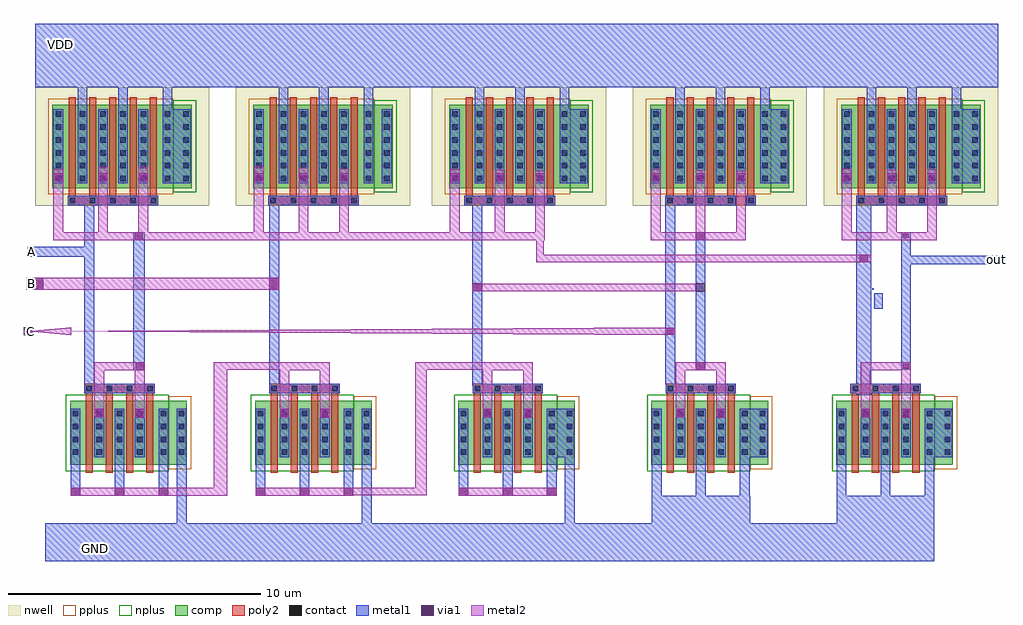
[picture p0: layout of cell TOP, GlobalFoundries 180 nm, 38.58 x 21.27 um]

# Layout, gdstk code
import gdstk
lib = gdstk.Library(unit=1e-6, precision=5e-09)
def R(c, l, rs):  # rectangles x0, y0, x1, y1
    for r in rs: c.add(gdstk.rectangle(r[:2], r[2:], *l))
def A(c, l, x, y, w, h, nx, ny, dx, dy):  # array of equal rectangles
    R(c, l, [(x+i*dx, y+j*dy, x+i*dx+w, y+j*dy+h) for i in range(nx) for j in range(ny)])
nwell = (21, 0)
comp = (22, 0)
poly2 = (30, 0)
pplus = (31, 0)
nplus = (32, 0)
contact = (33, 0)
metal1 = (34, 0)
via1 = (35, 0)
metal2 = (36, 0)

nfet_1 = lib.new_cell('nfet$1')
R(nfet_1, comp, [(-0.42,0,0,2.54), (0,0,3.06,2.54), (3.06,0,3.48,2.54), (3.48,0,4.19,2.54)])
A(nfet_1, poly2, 0.19, -0.3, 0.28, 3.14, 4, 1, 0.8, 0)
A(nfet_1, poly2, 0.15, 2.84, 0.36, 0.36, 4, 1, 0.8, 0)
R(nfet_1, pplus, [(3.48,-0.17,4.36,2.71)])
R(nfet_1, nplus, [(-0.59,-0.24,3.48,2.78)])
A(nfet_1, contact, -0.32, 0.395, 0.22, 0.22, 1, 4, 0, 0.51)
A(nfet_1, contact, 0.62, 0.395, 0.22, 0.22, 3, 4, 0.8, 0.51)
A(nfet_1, contact, 3.16, 0.395, 0.22, 0.22, 1, 4, 0, 0.51)
A(nfet_1, contact, 3.87, 0.395, 0.22, 0.22, 1, 4, 0, 0.51)
A(nfet_1, contact, 0.22, 2.91, 0.22, 0.22, 4, 1, 0.8, 0)
A(nfet_1, metal1, 0.54, 0.315, 0.38, 1.91, 3, 1, 0.8, 0)
A(nfet_1, metal1, 0.14, 2.83, 0.38, 0.38, 4, 1, 0.8, 0)
R(nfet_1, metal1, [(-0.4,0.315,-0.02,2.225), (3.08,0.315,3.46,2.225), (3.79,0.315,4.17,2.225)])

pfet = lib.new_cell('pfet')
R(pfet, nwell, [(-1.15,-0.69,5.74,3.99)])
R(pfet, comp, [(-0.46,0,0,3.3), (0,0,3.86,3.3), (3.86,0,4.32,3.3), (4.32,0,5.05,3.3)])
A(pfet, poly2, 0.14, -0.68, 0.38, 0.38, 5, 1, 0.8, 0)
A(pfet, poly2, 0.19, -0.3, 0.28, 3.9, 5, 1, 0.8, 0)
R(pfet, pplus, [(-0.63,-0.24,4.32,3.54)])
R(pfet, nplus, [(4.32,-0.17,5.22,3.47)])
A(pfet, contact, 0.22, -0.6, 0.22, 0.22, 5, 1, 0.8, 0)
A(pfet, contact, -0.34, 0.265, 0.22, 0.22, 1, 6, 0, 0.51)
A(pfet, contact, 0.62, 0.265, 0.22, 0.22, 4, 6, 0.8, 0.51)
A(pfet, contact, 3.98, 0.265, 0.22, 0.22, 1, 6, 0, 0.51)
A(pfet, contact, 4.71, 0.265, 0.22, 0.22, 1, 6, 0, 0.51)
A(pfet, metal1, 0.14, -0.68, 0.38, 0.38, 5, 1, 0.8, 0)
A(pfet, metal1, 0.54, 0.185, 0.38, 2.93, 4, 1, 0.8, 0)
R(pfet, metal1, [(-0.42,0.185,-0.04,3.115), (3.9,0.185,4.28,3.115), (4.63,0.185,5.01,3.115)])

top = lib.new_cell('TOP')
R(top, poly2, [(-51.475,10.355,-48.695,10.735), (-44.16,10.355,-41.38,10.735), (-36.13,10.355,-33.35,10.735), (-28.5,10.355,-25.72,10.735), (-21.19,10.355,-18.41,10.735), (-52.135,17.79,-48.555,18.17), (-44.2,17.79,-40.62,18.17), (-36.45,17.79,-32.87,18.17), (-28.515,17.79,-24.935,18.17), (-20.955,17.79,-17.375,18.17)])
A(top, metal1, -52.015, 6.31, 0.38, 1.53, 3, 1, 1.74, 0)
A(top, metal1, -44.7, 6.31, 0.38, 1.53, 3, 1, 1.74, 0)
A(top, metal1, -36.67, 6.31, 0.38, 1.53, 3, 1, 1.74, 0)
A(top, metal1, -29.04, 6.31, 0.38, 1.53, 3, 1, 1.74, 0)
A(top, metal1, -21.73, 6.31, 0.38, 1.53, 3, 1, 1.74, 0)
R(top, metal1, [(-53.015,3.71,-17.87,5.22), (-47.825,5.22,-47.435,5.31), (-40.51,5.22,-40.12,5.31), (-32.48,5.22,-32.085,5.31), (-29.04,5.22,-25.15,5.31), (-21.73,5.22,-17.87,6.31), (-47.825,5.31,-47.435,7.84), (-40.51,5.31,-40.12,7.84), (-32.48,5.31,-32.09,7.84), (-29.04,5.31,-25.15,6.31), (-33.19,7.84,-32.1,9.75), (-25.56,7.84,-24.47,9.75), (-18.25,7.84,-17.16,9.75), (-20.955,10.305,-20.36,18.17), (-51.475,10.355,-48.695,10.735), (-44.16,10.355,-41.38,10.735), (-36.13,10.355,-33.35,10.735), (-28.5,10.355,-25.72,10.735), (-21.19,10.355,-18.41,10.735), (-49.55,11.265,-49.1,11.595), (-27.31,11.265,-26.925,16.73), (-19.19,11.28,-18.81,16.73), (-49.55,11.595,-49.095,16.73), (-53.88,12.66,-53.465,12.96), (-20.25,13.7,-19.91,14.305), (-20.335,14.445,-20.275,14.515), (-53.775,14.45,-53.1,14.93), (-19.19,15.455,-15.3,15.79), (-52.135,17.79,-48.555,18.17), (-44.2,17.79,-40.62,18.17), (-36.45,17.79,-32.87,18.17), (-28.515,17.79,-25.735,18.17), (-20.955,17.79,-17.375,18.17), (-48.375,18.655,-47.265,21.585), (-32.69,18.655,-31.58,21.585), (-24.755,18.655,-23.645,21.585), (-17.195,18.655,-16.085,21.585), (-51.735,21.585,-51.355,23.275), (-50.135,21.585,-49.755,23.275), (-48.375,21.585,-47.995,23.275), (-43.8,21.585,-43.42,23.275), (-42.2,21.585,-41.82,23.275), (-40.44,21.585,-40.06,23.275), (-36.05,21.585,-35.67,23.275), (-34.45,21.585,-34.07,23.275), (-32.69,21.585,-32.31,23.275), (-28.115,21.585,-27.735,23.275), (-26.515,21.585,-26.135,23.275), (-24.755,21.585,-24.375,23.275), (-20.555,21.585,-20.175,23.275), (-18.955,21.585,-18.575,23.275), (-17.195,21.585,-16.815,23.275), (-53.425,22.46,-15.355,24.975)])
R(top, via1, [(-52.015,6.31,-51.635,6.625), (-52.015,6.31,-51.635,6.625), (-50.275,6.31,-49.895,6.625), (-50.275,6.31,-49.895,6.625), (-48.535,6.31,-48.155,6.625), (-48.535,6.31,-48.155,6.625), (-44.7,6.31,-44.32,6.625), (-44.7,6.31,-44.32,6.625), (-42.96,6.31,-42.58,6.625), (-42.96,6.31,-42.58,6.625), (-41.22,6.31,-40.84,6.625), (-41.22,6.31,-40.84,6.625), (-36.67,6.31,-36.29,6.625), (-36.67,6.31,-36.29,6.625), (-34.93,6.31,-34.55,6.625), (-34.93,6.31,-34.55,6.625), (-33.19,6.31,-32.81,6.625), (-33.19,6.31,-32.81,6.625), (-49.475,9.385,-49.095,9.75), (-42.16,9.385,-41.78,9.75), (-34.13,9.385,-33.75,9.75), (-26.5,9.385,-26.12,9.75), (-19.19,9.385,-18.81,9.75), (-51.075,9.42,-50.695,9.75), (-43.76,9.42,-43.38,9.75), (-35.73,9.42,-35.35,9.75), (-28.1,9.42,-27.72,9.75), (-20.79,9.42,-20.41,9.75), (-49.45,11.265,-49.1,11.595), (-27.305,11.265,-26.925,11.59), (-19.125,11.32,-18.875,11.53), (-53.88,12.66,-53.465,12.96), (-28.445,12.7,-28.17,12.92), (-27.31,14.375,-26.925,14.715), (-36.14,14.395,-35.74,14.7), (-53.775,14.45,-53.1,14.93), (-44.17,14.45,-43.77,14.93), (-20.83,15.54,-20.5,15.84), (-49.485,16.415,-49.17,16.73), (-27.31,16.415,-26.93,16.73), (-19.125,16.5,-18.89,16.66), (-52.695,18.75,-52.315,19.065), (-50.93,18.75,-50.55,19.065), (-49.335,18.75,-48.955,19.065), (-44.76,18.75,-44.38,19.065), (-42.995,18.75,-42.615,19.065), (-41.4,18.75,-41.02,19.065), (-37.01,18.75,-36.63,19.065), (-35.245,18.75,-34.865,19.065), (-33.65,18.75,-33.27,19.065), (-29.075,18.75,-28.695,19.065), (-27.31,18.75,-26.93,19.065), (-25.715,18.75,-25.335,19.065), (-21.515,18.75,-21.135,19.065), (-19.75,18.75,-19.37,19.065), (-18.155,18.75,-17.775,19.065)])
R(top, metal2, [(-44.7,6.31,-40.84,6.625), (-36.67,6.31,-32.81,6.625), (-52.015,6.315,-45.825,6.625), (-46.355,6.315,-45.825,11.58), (-38.39,6.32,-37.94,11.58), (-49.475,9.385,-49.095,11.595), (-42.16,9.385,-41.78,11.595), (-34.13,9.385,-33.75,11.595), (-26.5,9.385,-26.12,11.595), (-19.19,9.385,-18.81,11.595), (-51.075,9.42,-50.695,11.595), (-43.76,9.42,-43.38,11.595), (-35.73,9.42,-35.35,11.595), (-28.1,9.42,-27.72,11.595), (-20.79,9.42,-20.41,11.595), (-51.075,11.265,-49.095,11.595), (-49.55,11.265,-49.095,11.595), (-43.76,11.265,-41.78,11.595), (-35.73,11.265,-33.75,11.595), (-28.1,11.265,-26.12,11.595), (-20.79,11.265,-18.81,11.595), (-53.775,14.45,-43.77,14.93), (-52.71,16.415,-52.315,18.655), (-52.71,16.415,-48.97,16.73), (-50.93,16.415,-50.55,18.655), (-49.335,16.415,-48.955,18.655), (-48.97,16.415,-33.285,16.73), (-44.775,16.415,-44.38,18.655), (-44.775,16.415,-41.035,16.73), (-42.995,16.415,-42.615,18.655), (-41.4,16.415,-41.02,18.655), (-37.025,16.415,-36.63,18.655), (-37.025,16.415,-33.285,16.73), (-35.245,16.415,-34.865,18.655), (-33.65,16.415,-33.27,18.655), (-29.09,16.415,-28.695,18.655), (-29.09,16.415,-25.35,16.73), (-27.31,16.415,-26.93,18.655), (-25.715,16.415,-25.335,18.655), (-21.53,16.415,-21.135,18.655), (-21.53,16.415,-17.79,16.73), (-19.75,16.415,-19.37,18.655), (-18.155,16.415,-17.775,18.655), (-52.695,18.375,-52.315,19.215), (-50.935,18.38,-50.55,19.315), (-41.4,18.47,-41.02,19.23), (-49.335,18.495,-48.955,19.31), (-43,18.505,-42.615,19.265), (-44.76,18.515,-44.38,19.325), (-37.01,18.52,-36.63,19.21), (-29.075,18.56,-28.695,19.205), (-27.315,18.57,-26.93,19.175), (-35.25,18.575,-34.865,19.195), (-33.65,18.59,-33.27,19.16), (-19.75,18.63,-19.375,19.195), (-25.715,18.64,-25.335,19.155), (-21.53,18.655,-21.135,19.235), (-18.155,18.655,-17.775,19.205)])
top.add(gdstk.FlexPath([(-51.285,10.725),(-51.285,18.09)], 0.4, ends="flush", simple_path=True, layer=34, datatype=0))  # metal1
top.add(gdstk.FlexPath([(-43.97,10.735),(-43.97,17.98)], 0.4, ends="flush", simple_path=True, layer=34, datatype=0))  # metal1
top.add(gdstk.FlexPath([(-35.94,10.655),(-35.94,17.79),(-35.94,18.065)], 0.4, ends="flush", simple_path=True, layer=34, datatype=0))  # metal1
top.add(gdstk.FlexPath([(-28.31,10.735),(-28.31,18.17)], 0.4, ends="flush", simple_path=True, layer=34, datatype=0))  # metal1
top.add(gdstk.FlexPath([(-51.285,15.95),(-53.715,15.95)], 0.4, ends="flush", simple_path=True, layer=34, datatype=0))  # metal1
top.add(gdstk.FlexPath([(-43.76,11.43),(-46.355,11.43)], 0.3, ends="flush", simple_path=True, layer=36, datatype=0))  # metal2
top.add(gdstk.FlexPath([(-40.84,6.47),(-37.94,6.47)], 0.3, ends="flush", simple_path=True, layer=36, datatype=0))  # metal2
top.add(gdstk.FlexPath([(-35.73,11.43),(-38.39,11.43)], 0.3, ends="flush", simple_path=True, layer=36, datatype=0))  # metal2
top.add(gdstk.FlexPath([(-33.46,16.415),(-33.46,15.69),(-20.36,15.69)], 0.3, ends="flush", simple_path=True, layer=36, datatype=0))  # metal2
top.add(gdstk.FlexPath([(-28.11,12.81),(-53.73,12.81),(-51.985,12.81)], 0.3, ends="flush", simple_path=True, layer=36, datatype=0))  # metal2
top.add(gdstk.FlexPath([(-27.31,14.545),(-36.14,14.545),(-36.14,14.545)], 0.3, ends="flush", simple_path=True, layer=36, datatype=0))  # metal2
top.add(gdstk.Reference(nfet_1, (-21.33,7.525)))
top.add(gdstk.Reference(pfet, (-36.59,18.47)))
top.add(gdstk.Reference(pfet, (-21.095,18.47)))
top.add(gdstk.Reference(pfet, (-52.275,18.47)))
top.add(gdstk.Reference(pfet, (-44.34,18.47)))
top.add(gdstk.Reference(pfet, (-28.655,18.47)))
top.add(gdstk.Reference(nfet_1, (-51.615,7.525)))
top.add(gdstk.Reference(nfet_1, (-36.27,7.525)))
top.add(gdstk.Reference(nfet_1, (-28.64,7.525)))
top.add(gdstk.Reference(nfet_1, (-44.3,7.525)))
top.add(gdstk.Label('GND', (-51.02,4.22), layer=34, texttype=10))
top.add(gdstk.Label('VDD', (-52.415,24.14), layer=34, texttype=10))
top.add(gdstk.Label('A', (-53.575,15.95), layer=34, texttype=10))
top.add(gdstk.Label('C', (-53.62,12.81), layer=34, texttype=10))
top.add(gdstk.Label('B', (-53.545,14.715), layer=34, texttype=10))
top.add(gdstk.Label('out', (-15.435,15.63), layer=34, texttype=10))

lib.write_gds('TOP.gds')
